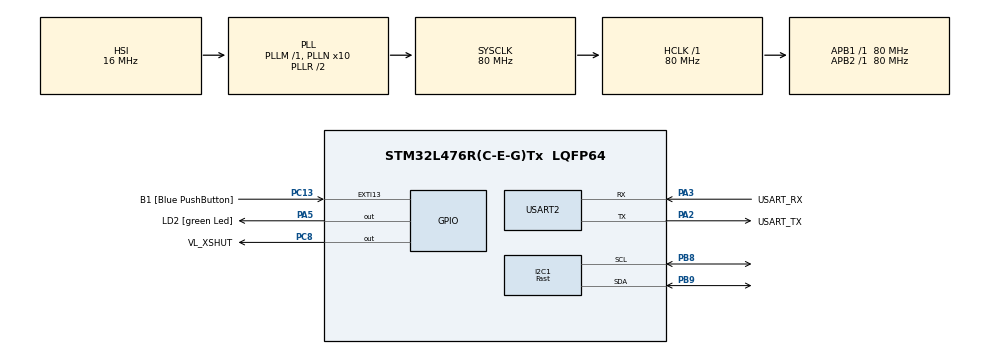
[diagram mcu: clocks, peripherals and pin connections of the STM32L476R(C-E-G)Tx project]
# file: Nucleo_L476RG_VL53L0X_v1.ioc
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Mcu.Family=STM32L4
PA2.GPIO_PuPd=GPIO_NOPULL
RCC.CortexFreq_Value=80000000
I2C1.I2C_Speed_Mode=I2C_Fast
PH0-OSC_IN\ (PH0).Signal=RCC_OSC_IN
I2C1.I2C_Rise_Time=10
PA3.GPIO_PuPd=GPIO_NOPULL
PA2.GPIO_Speed=GPIO_SPEED_FREQ_VERY_HIGH
PC15-OSC32_OUT\ (PC15).Mode=LSE-External-Oscillator
PC13.GPIO_Label=B1 [Blue PushButton]
PA3.GPIO_Speed=GPIO_SPEED_FREQ_VERY_HIGH
RCC.SYSCLKSource=RCC_SYSCLKSOURCE_PLLCLK
ProjectManager.StackSize=0x400
PB3\ (JTDO-TRACESWO).Signal=SYS_JTDO-SWO
PC14-OSC32_IN\ (PC14).Mode=LSE-External-Oscillator
PA14\ (JTCK-SWCLK).Signal=SYS_JTCK-SWCLK
RCC.HCLKFreq_Value=80000000
RCC.APB2TimFreq_Value=80000000
RCC.AHBFreq_Value=80000000
RCC.PREFETCH_ENABLE=1
RCC.HSE_VALUE=8000000
USART2.VirtualMode-Asynchronous=VM_ASYNC
I2C1.NoStretchMode=I2C_NOSTRETCH_DISABLE
PA5.GPIO_PuPd=GPIO_NOPULL
PC13.GPIO_PuPd=GPIO_NOPULL
Mcu.Package=LQFP64
PB9.Signal=I2C1_SDA
PA2.GPIO_Label=USART_TX
RCC.APB1TimFreq_Value=80000000
PA13\ (JTMS-SWDIO).Signal=SYS_JTMS-SWDIO
PA3.Signal=USART2_RX
PA2.GPIO_Mode=GPIO_MODE_AF_PP
RCC.MSI_VALUE=4000000
RCC.PLLSourceVirtual=RCC_PLLSOURCE_HSI
PA14\ (JTCK-SWCLK).Mode=Serial_Wire
I2C1.I2C_Fall_Time=10
PC13.Signal=GPXTI13
PC8.Signal=GPIO_Output
PC15-OSC32_OUT\ (PC15).Signal=RCC_OSC32_OUT
PA14\ (JTCK-SWCLK).GPIO_Label=TCK
PB3\ (JTDO-TRACESWO).GPIO_Label=SWO
PH1-OSC_OUT\ (PH1).Signal=RCC_OSC_OUT
PC8.GPIO_Label=VL_XSHUT
PA3.Mode=Asynchronous
ProjectManager.TargetToolchain=STM32CubeIDE
PA3.GPIO_Mode=GPIO_MODE_AF_PP
PB9.Mode=I2C
I2C1.Timing=0x0080298F
RCC.USBFreq_Value=64000000
PA5.Signal=GPIO_Output
board=NUCLEO-L476RG
RCC.VCOOutputFreq_Value=160000000
RCC.APB2Freq_Value=80000000
PA5.GPIO_ModeDefaultOutputPP=GPIO_MODE_OUTPUT_PP
PA13\ (JTMS-SWDIO).GPIO_Label=TMS
RCC.ADCFreq_Value=64000000
Mcu.Name=STM32L476R(C-E-G)Tx
PA2.Signal=USART2_TX
PA13\ (JTMS-SWDIO).Mode=Serial_Wire
RCC.SYSCLKFreq_VALUE=80000000
PA5.GPIO_Label=LD2 [green Led]
PC13.GPIO_ModeDefaultEXTI=GPIO_MODE_IT_FALLING
PC14-OSC32_IN\ (PC14).Signal=RCC_OSC32_IN
ProjectManager.HeapSize=0x200
RCC.HSI_VALUE=16000000
PA5.GPIO_Speed=GPIO_SPEED_FREQ_LOW
NVIC.PriorityGroup=NVIC_PRIORITYGROUP_4
RCC.PLLN=10
PB8.Mode=I2C
PA2.Mode=Asynchronous
PB8.Signal=I2C1_SCL
RCC.APB1Freq_Value=80000000
PA3.GPIO_Label=USART_RX

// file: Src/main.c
/* USER CODE BEGIN Header */
/**
  ******************************************************************************
  * @file           : main.c
  * @brief          : Main program body
  ******************************************************************************
  * @attention
  *
  * <h2><center>&copy; Copyright (c) 2020 STMicroelectronics.
  * All rights reserved.</center></h2>
  *
  * This software component is licensed by ST under BSD 3-Clause license,
  * the "License"; You may not use this file except in compliance with the
  * License. You may obtain a copy of the License at:
  *                        opensource.org/licenses/BSD-3-Clause
  *
  ******************************************************************************
  */
/* USER CODE END Header */

#include "main.h"

/* USER CODE BEGIN Includes */
#include <stdio.h>
#include <string.h>
#include "vl53l0x_class.h"
/* USER CODE END Includes */

I2C_HandleTypeDef hi2c1;

UART_HandleTypeDef huart2;

/* USER CODE BEGIN PV */
VL53L0X_Dev_t sensor1;
/* USER CODE END PV */

void SystemClock_Config(void);
static void MX_GPIO_Init(void);
static void MX_I2C1_Init(void);
static void MX_USART2_UART_Init(void);
/* USER CODE BEGIN PFP */

void VL53L0X_Start(VL53L0X_Dev_t *lidar);

/* USER CODE END PFP */

/* USER CODE BEGIN 0 */

#ifdef __GNUC__
/* With GCC, small printf (option LD Linker->Libraries->Small printf
     set to 'Yes') calls __io_putchar() */
#define PUTCHAR_PROTOTYPE int __io_putchar(int ch)
#else
#define PUTCHAR_PROTOTYPE int fputc(int ch, FILE *f)
#endif /* __GNUC__ */

/* Private functions ---------------------------------------------------------*/
/**
 * @brief  Retargets the C library printf function to the USART.
 * @param  None
 * @retval None
 */
PUTCHAR_PROTOTYPE
{
	/* Place your implementation of fputc here */
	/* e.g. write a character to the EVAL_COM1 and Loop until the end of transmission */
	HAL_UART_Transmit(&huart2, (uint8_t *)&ch, 1, 0xFFFF);

	return ch;
}

/* USER CODE END 0 */

int main(void)
{

  /* MCU Configuration--------------------------------------------------------*/

  /* Reset of all peripherals, Initializes the Flash interface and the Systick. */
  HAL_Init();

  /* Configure the system clock */
  SystemClock_Config();

  /* Initialize all configured peripherals */
  MX_GPIO_Init();
  MX_I2C1_Init();
  MX_USART2_UART_Init();
  /* USER CODE BEGIN 2 */

	printf("start\n");
	VL53L0X_Start(&sensor1);

  /* USER CODE END 2 */

  /* Infinite loop */
  while (1)
  {

    /* USER CODE BEGIN 3 */
		uint32_t distance;
		int status=VL53L0X_GetDistance(&sensor1, &distance);
		printf("Status %d Read value: %lu\r\n",status, distance);
  }
  /* USER CODE END 3 */
}

void SystemClock_Config(void)
{
  RCC_OscInitTypeDef RCC_OscInitStruct = {0};
  RCC_ClkInitTypeDef RCC_ClkInitStruct = {0};
  RCC_PeriphCLKInitTypeDef PeriphClkInit = {0};

  /** Initializes the CPU, AHB and APB busses clocks
  */
  RCC_OscInitStruct.OscillatorType = RCC_OSCILLATORTYPE_HSI;
  RCC_OscInitStruct.HSIState = RCC_HSI_ON;
  RCC_OscInitStruct.HSICalibrationValue = RCC_HSICALIBRATION_DEFAULT;
  RCC_OscInitStruct.PLL.PLLState = RCC_PLL_ON;
  RCC_OscInitStruct.PLL.PLLSource = RCC_PLLSOURCE_HSI;
  RCC_OscInitStruct.PLL.PLLM = 1;
  RCC_OscInitStruct.PLL.PLLN = 10;
  RCC_OscInitStruct.PLL.PLLP = RCC_PLLP_DIV7;
  RCC_OscInitStruct.PLL.PLLQ = RCC_PLLQ_DIV2;
  RCC_OscInitStruct.PLL.PLLR = RCC_PLLR_DIV2;
  if (HAL_RCC_OscConfig(&RCC_OscInitStruct) != HAL_OK)
  {
    Error_Handler();
  }
  /** Initializes the CPU, AHB and APB busses clocks
  */
  RCC_ClkInitStruct.ClockType = RCC_CLOCKTYPE_HCLK|RCC_CLOCKTYPE_SYSCLK
                              |RCC_CLOCKTYPE_PCLK1|RCC_CLOCKTYPE_PCLK2;
  RCC_ClkInitStruct.SYSCLKSource = RCC_SYSCLKSOURCE_PLLCLK;
  RCC_ClkInitStruct.AHBCLKDivider = RCC_SYSCLK_DIV1;
  RCC_ClkInitStruct.APB1CLKDivider = RCC_HCLK_DIV1;
  RCC_ClkInitStruct.APB2CLKDivider = RCC_HCLK_DIV1;

  if (HAL_RCC_ClockConfig(&RCC_ClkInitStruct, FLASH_LATENCY_4) != HAL_OK)
  {
    Error_Handler();
  }
  PeriphClkInit.PeriphClockSelection = RCC_PERIPHCLK_USART2|RCC_PERIPHCLK_I2C1;
  PeriphClkInit.Usart2ClockSelection = RCC_USART2CLKSOURCE_PCLK1;
  PeriphClkInit.I2c1ClockSelection = RCC_I2C1CLKSOURCE_PCLK1;
  if (HAL_RCCEx_PeriphCLKConfig(&PeriphClkInit) != HAL_OK)
  {
    Error_Handler();
  }
  /** Configure the main internal regulator output voltage
  */
  if (HAL_PWREx_ControlVoltageScaling(PWR_REGULATOR_VOLTAGE_SCALE1) != HAL_OK)
  {
    Error_Handler();
  }
}

static void MX_I2C1_Init(void)
{

  hi2c1.Instance = I2C1;
  hi2c1.Init.Timing = 0x0080298F;
  hi2c1.Init.OwnAddress1 = 0;
  hi2c1.Init.AddressingMode = I2C_ADDRESSINGMODE_7BIT;
  hi2c1.Init.DualAddressMode = I2C_DUALADDRESS_DISABLE;
  hi2c1.Init.OwnAddress2 = 0;
  hi2c1.Init.OwnAddress2Masks = I2C_OA2_NOMASK;
  hi2c1.Init.GeneralCallMode = I2C_GENERALCALL_DISABLE;
  hi2c1.Init.NoStretchMode = I2C_NOSTRETCH_DISABLE;
  if (HAL_I2C_Init(&hi2c1) != HAL_OK)
  {
    Error_Handler();
  }
  /** Configure Analogue filter
  */
  if (HAL_I2CEx_ConfigAnalogFilter(&hi2c1, I2C_ANALOGFILTER_ENABLE) != HAL_OK)
  {
    Error_Handler();
  }
  /** Configure Digital filter
  */
  if (HAL_I2CEx_ConfigDigitalFilter(&hi2c1, 0) != HAL_OK)
  {
    Error_Handler();
  }

}

static void MX_USART2_UART_Init(void)
{

  huart2.Instance = USART2;
  huart2.Init.BaudRate = 115200;
  huart2.Init.WordLength = UART_WORDLENGTH_8B;
  huart2.Init.StopBits = UART_STOPBITS_1;
  huart2.Init.Parity = UART_PARITY_NONE;
  huart2.Init.Mode = UART_MODE_TX_RX;
  huart2.Init.HwFlowCtl = UART_HWCONTROL_NONE;
  huart2.Init.OverSampling = UART_OVERSAMPLING_16;
  huart2.Init.OneBitSampling = UART_ONE_BIT_SAMPLE_DISABLE;
  huart2.AdvancedInit.AdvFeatureInit = UART_ADVFEATURE_NO_INIT;
  if (HAL_UART_Init(&huart2) != HAL_OK)
  {
    Error_Handler();
  }

}

static void MX_GPIO_Init(void)
{
  GPIO_InitTypeDef GPIO_InitStruct = {0};

  /* GPIO Ports Clock Enable */
  __HAL_RCC_GPIOC_CLK_ENABLE();
  __HAL_RCC_GPIOH_CLK_ENABLE();
  __HAL_RCC_GPIOA_CLK_ENABLE();
  __HAL_RCC_GPIOB_CLK_ENABLE();

  /*Configure GPIO pin Output Level */
  HAL_GPIO_WritePin(LD2_GPIO_Port, LD2_Pin, GPIO_PIN_RESET);

  /*Configure GPIO pin Output Level */
  HAL_GPIO_WritePin(VL_XSHUT_GPIO_Port, VL_XSHUT_Pin, GPIO_PIN_RESET);

  /*Configure GPIO pin : B1_Pin */
  GPIO_InitStruct.Pin = B1_Pin;
  GPIO_InitStruct.Mode = GPIO_MODE_IT_FALLING;
  GPIO_InitStruct.Pull = GPIO_NOPULL;
  HAL_GPIO_Init(B1_GPIO_Port, &GPIO_InitStruct);

  /*Configure GPIO pin : LD2_Pin */
  GPIO_InitStruct.Pin = LD2_Pin;
  GPIO_InitStruct.Mode = GPIO_MODE_OUTPUT_PP;
  GPIO_InitStruct.Pull = GPIO_NOPULL;
  GPIO_InitStruct.Speed = GPIO_SPEED_FREQ_LOW;
  HAL_GPIO_Init(LD2_GPIO_Port, &GPIO_InitStruct);

  /*Configure GPIO pin : VL_XSHUT_Pin */
  GPIO_InitStruct.Pin = VL_XSHUT_Pin;
  GPIO_InitStruct.Mode = GPIO_MODE_OUTPUT_PP;
  GPIO_InitStruct.Pull = GPIO_NOPULL;
  GPIO_InitStruct.Speed = GPIO_SPEED_FREQ_LOW;
  HAL_GPIO_Init(VL_XSHUT_GPIO_Port, &GPIO_InitStruct);

}

/* USER CODE BEGIN 4 */

/**
 * @brief  This function is executed in case of error occurrence.
 * @retval None
 */
void _Error_Handler(char *file, int line)
{
	/* USER CODE BEGIN Error_Handler_Debug */
	char msg[256];
	sprintf(msg,"%s,%d", file,line);
	/* User can add his own implementation to report the HAL error return state */
	while(1)
	{
	}
	/* USER CODE END Error_Handler_Debug */
}

void VL53L0X_Start(VL53L0X_Dev_t *lidar){
	lidar->I2cDevAddr=0x29; // ADDRESS_DEFAULT;
	lidar->comms_type=1;    // VL53L0X_COMMS_I2C
	lidar->comms_speed_khz=400;

	HAL_GPIO_WritePin(VL_XSHUT_GPIO_Port, VL_XSHUT_Pin, GPIO_PIN_RESET); //shut down the VL53L0X sensor.
	HAL_Delay(100); //100

	HAL_GPIO_WritePin(VL_XSHUT_GPIO_Port, VL_XSHUT_Pin, GPIO_PIN_SET); //start up the sensor.
	HAL_Delay(100);  //24

	if(!VL53L0X_InitSensor(lidar, VL53L0x_DEFAULT_DEVICE_ADDRESS)) //attempt to initialise it with the necessary settings for normal operation. Returns 0 if fail, 1 if success.
	{
		char msg[256];
		sprintf(msg,"Failed to initialize\r\n");
		HAL_UART_Transmit(&huart2, (uint8_t*) msg, strlen(msg), HAL_MAX_DELAY);
	}
	else
	{
		char msg[256];
		sprintf(msg,"Successfully initialized\r\n");
		HAL_UART_Transmit(&huart2, (uint8_t*) msg, strlen(msg), HAL_MAX_DELAY);
	}
}

/* USER CODE END 4 */

//void Error_Handler(void)
//{
//  /* USER CODE BEGIN Error_Handler_Debug */
//	char msg[256];
//	sprintf(msg,"%s,%d", file,line);
//	/* User can add his own implementation to report the HAL error return state */
//	while(1)
//	{
//	}
//  /* USER CODE END Error_Handler_Debug */
//}

/************************ (C) COPYRIGHT STMicroelectronics *****END OF FILE****/
